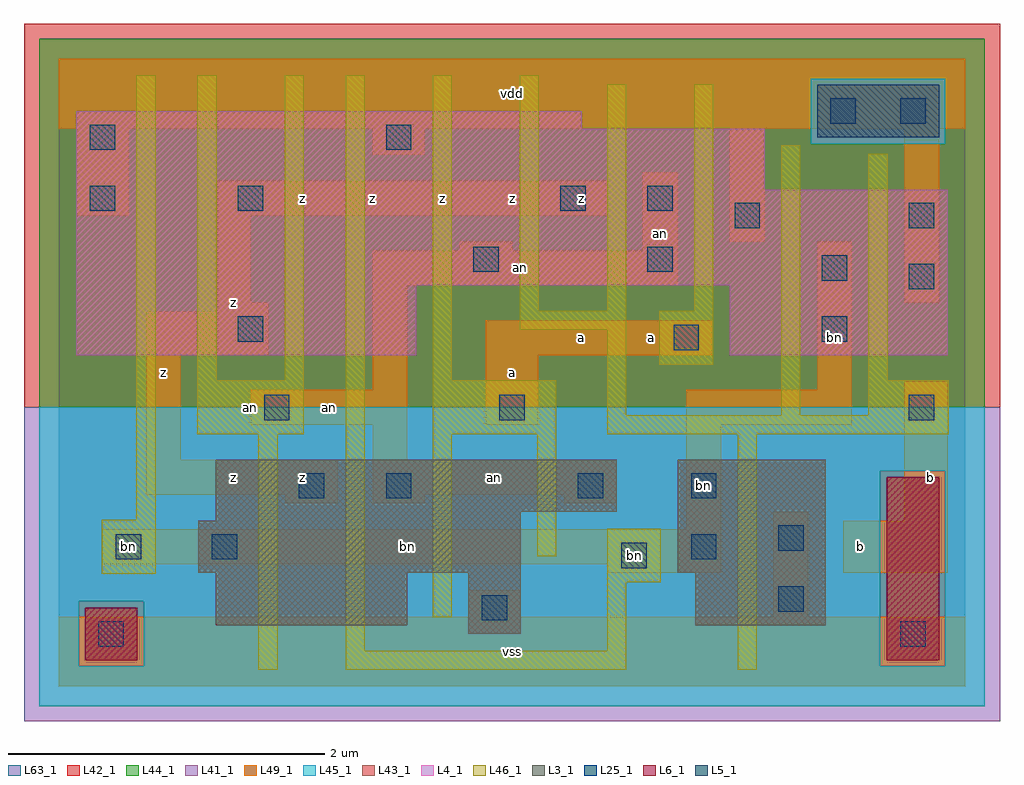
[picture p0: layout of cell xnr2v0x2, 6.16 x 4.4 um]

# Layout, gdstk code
import gdstk
lib = gdstk.Library(unit=1e-6, precision=1e-09)
def R(c, l, rs):  # rectangles x0, y0, x1, y1
    for r in rs: c.add(gdstk.rectangle(r[:2], r[2:], *l))
L3_1 = (3, 1)
L4_1 = (4, 1)
L5_1 = (5, 1)
L6_1 = (6, 1)
L25_1 = (25, 1)
L41_1 = (41, 1)
L42_1 = (42, 1)
L43_1 = (43, 1)
L44_1 = (44, 1)
L45_1 = (45, 1)
L46_1 = (46, 1)
L49_1 = (49, 1)
L63_1 = (63, 1)

xnr2v0x2 = lib.new_cell('xnr2v0x2')
R(xnr2v0x2, L3_1, [(2.585,0.33,2.915,0.715), (0.99,0.385,2.2,0.715), (4.015,0.385,4.84,0.715), (0.88,0.715,2.915,1.045), (3.905,0.715,4.84,1.43), (0.99,1.045,2.915,1.1), (0.99,1.1,3.52,1.43)])
R(xnr2v0x2, L4_1, [(0.11,2.09,2.255,2.53), (4.235,2.09,5.61,2.53), (0.11,2.53,5.61,3.135), (0.11,3.135,4.455,3.52), (0.11,3.52,3.3,3.63)])
R(xnr2v0x2, L5_1, [(4.785,3.465,5.555,3.795)])
R(xnr2v0x2, L6_1, [(0.165,0.165,0.495,0.495), (5.225,0.165,5.555,1.32)])
R(xnr2v0x2, L25_1, [(0.25,0.25,0.41,0.41), (5.31,0.25,5.47,0.41), (2.67,0.415,2.83,0.575), (4.54,0.47,4.7,0.63), (3.55,0.745,3.71,0.905), (0.36,0.8,0.52,0.96), (0.965,0.8,1.125,0.96), (3.99,0.8,4.15,0.96), (4.54,0.855,4.7,1.015), (1.515,1.185,1.675,1.345), (2.065,1.185,2.225,1.345), (3.275,1.185,3.435,1.345), (3.99,1.185,4.15,1.345), (1.295,1.68,1.455,1.84), (2.78,1.68,2.94,1.84), (5.365,1.68,5.525,1.84), (3.88,2.12,4.04,2.28), (1.13,2.175,1.29,2.335), (4.815,2.175,4.975,2.335), (5.365,2.505,5.525,2.665), (4.815,2.56,4.975,2.72), (2.615,2.615,2.775,2.775), (3.715,2.615,3.875,2.775), (4.265,2.89,4.425,3.05), (5.365,2.89,5.525,3.05), (0.195,3,0.355,3.16), (1.13,3,1.29,3.16), (3.165,3,3.325,3.16), (3.715,3,3.875,3.16), (0.195,3.385,0.355,3.545), (2.065,3.385,2.225,3.545), (4.87,3.55,5.03,3.71), (5.31,3.55,5.47,3.71)])
R(xnr2v0x2, L41_1, [(-0.22,-0.22,5.94,1.76)])
R(xnr2v0x2, L42_1, [(-0.22,1.76,5.94,4.18)])
R(xnr2v0x2, L43_1, [(0.165,0.165,0.495,0.495), (5.225,0.165,5.555,1.32), (2.585,0.33,2.915,0.715), (0.99,0.385,2.2,0.715), (4.015,0.385,4.84,0.715), (0.88,0.715,2.915,1.045), (3.905,0.715,4.84,1.43), (0.99,1.045,2.915,1.1), (0.99,1.1,3.52,1.43), (0.11,2.09,2.255,2.53), (4.235,2.09,5.61,2.53), (0.11,2.53,5.61,3.135), (0.11,3.135,4.455,3.52), (4.785,3.465,5.555,3.795), (0.11,3.52,3.3,3.63)])
R(xnr2v0x2, L44_1, [(0.125,0.125,0.535,0.535), (5.185,0.125,5.595,1.36), (-0.125,1.76,5.845,3.425), (-0.125,3.425,4.745,3.835), (5.595,3.425,5.845,3.835), (-0.125,3.835,5.845,4.085)])
R(xnr2v0x2, L45_1, [(-0.125,-0.125,5.845,0.125), (-0.125,0.125,0.125,0.535), (0.535,0.125,5.185,0.535), (5.595,0.125,5.845,1.36), (-0.125,0.535,5.185,1.36), (-0.125,1.36,5.845,1.76), (4.745,3.425,5.595,3.835)])
R(xnr2v0x2, L46_1, [(1.26,0.105,1.38,1.59), (1.81,0.105,3.58,0.225), (4.285,0.105,4.405,1.59), (1.81,0.225,1.93,3.855), (3.46,0.225,3.58,0.655), (2.36,0.435,2.48,1.59), (3.46,0.655,3.8,0.995), (0.27,0.71,0.61,1.05), (3.02,0.82,3.14,1.59), (0.49,1.05,0.61,3.855), (0.875,1.59,1.545,1.93), (2.36,1.59,3.14,1.93), (3.46,1.59,5.615,1.71), (3.46,1.71,3.58,2.25), (4.56,1.71,4.68,3.415), (5.11,1.71,5.615,1.93), (0.875,1.93,0.995,3.855), (1.425,1.93,1.545,3.855), (2.36,1.93,2.48,3.855), (5.11,1.93,5.23,3.36), (3.79,2.03,4.13,2.37), (2.91,2.25,3.58,2.37), (2.91,2.37,3.03,3.855), (3.46,2.37,3.58,3.8), (4.01,2.37,4.13,3.8)])
R(xnr2v0x2, L49_1, [(0,0,5.72,0.44), (2.585,0.44,2.915,0.605), (4.51,0.44,4.73,1.1), (3.465,0.715,4.18,0.77), (4.95,0.715,5.61,1.045), (0.275,0.77,4.18,0.99), (3.96,0.99,4.18,1.65), (5.335,1.045,5.61,1.925), (1.43,1.155,1.76,1.21), (1.98,1.155,2.31,1.21), (3.19,1.155,3.52,1.21), (0.55,1.21,1.76,1.43), (1.98,1.21,3.52,1.43), (0.55,1.43,0.77,2.09), (1.98,1.43,2.2,1.65), (1.21,1.65,2.2,1.87), (2.695,1.65,3.025,2.09), (3.96,1.65,5.005,1.87), (1.98,1.87,2.2,2.53), (4.785,1.87,5.005,2.805), (0.55,2.09,1.32,2.365), (2.695,2.09,4.125,2.31), (0.99,2.365,1.32,2.42), (0.99,2.42,1.21,2.97), (5.335,2.42,5.555,3.52), (1.98,2.53,3.905,2.75), (2.53,2.75,2.86,2.805), (3.685,2.75,3.905,3.245), (4.235,2.805,4.455,3.52), (0.11,2.97,0.44,3.52), (0.99,2.97,3.465,3.19), (1.98,3.355,2.31,3.52), (0,3.52,5.72,3.96)])
R(xnr2v0x2, L63_1, [(0,0,5.72,3.96)])
xnr2v0x2.add(gdstk.Label('bn', (0.44,0.88), layer=49, texttype=1))
xnr2v0x2.add(gdstk.Label('an', (1.21,1.76), layer=46, texttype=1))
xnr2v0x2.add(gdstk.Label('bn', (3.63,0.825), layer=49, texttype=1))
xnr2v0x2.add(gdstk.Label('z', (0.66,1.98), layer=49, texttype=1))
xnr2v0x2.add(gdstk.Label('z', (1.1,1.32), layer=49, texttype=1))
xnr2v0x2.add(gdstk.Label('z', (1.54,1.32), layer=49, texttype=1))
xnr2v0x2.add(gdstk.Label('an', (1.705,1.76), layer=49, texttype=1))
xnr2v0x2.add(gdstk.Label('z', (1.1,2.42), layer=49, texttype=1))
xnr2v0x2.add(gdstk.Label('z', (1.98,3.08), layer=49, texttype=1))
xnr2v0x2.add(gdstk.Label('z', (1.54,3.08), layer=49, texttype=1))
xnr2v0x2.add(gdstk.Label('vss', (2.86,0.22), layer=49, texttype=1))
xnr2v0x2.add(gdstk.Label('a', (2.86,1.98), layer=49, texttype=1))
xnr2v0x2.add(gdstk.Label('a', (3.3,2.2), layer=49, texttype=1))
xnr2v0x2.add(gdstk.Label('z', (3.3,3.08), layer=49, texttype=1))
xnr2v0x2.add(gdstk.Label('z', (2.86,3.08), layer=49, texttype=1))
xnr2v0x2.add(gdstk.Label('z', (2.42,3.08), layer=49, texttype=1))
xnr2v0x2.add(gdstk.Label('vdd', (2.86,3.74), layer=49, texttype=1))
xnr2v0x2.add(gdstk.Label('bn', (2.2,0.88), layer=49, texttype=1))
xnr2v0x2.add(gdstk.Label('an', (2.75,1.32), layer=49, texttype=1))
xnr2v0x2.add(gdstk.Label('bn', (4.07,1.265), layer=49, texttype=1))
xnr2v0x2.add(gdstk.Label('a', (3.74,2.2), layer=49, texttype=1))
xnr2v0x2.add(gdstk.Label('an', (2.915,2.64), layer=49, texttype=1))
xnr2v0x2.add(gdstk.Label('an', (3.795,2.86), layer=49, texttype=1))
xnr2v0x2.add(gdstk.Label('b', (5.06,0.88), layer=49, texttype=1))
xnr2v0x2.add(gdstk.Label('b', (5.5,1.32), layer=49, texttype=1))
xnr2v0x2.add(gdstk.Label('bn', (4.895,2.2), layer=49, texttype=1))

lib.write_gds('xnr2v0x2.gds')
